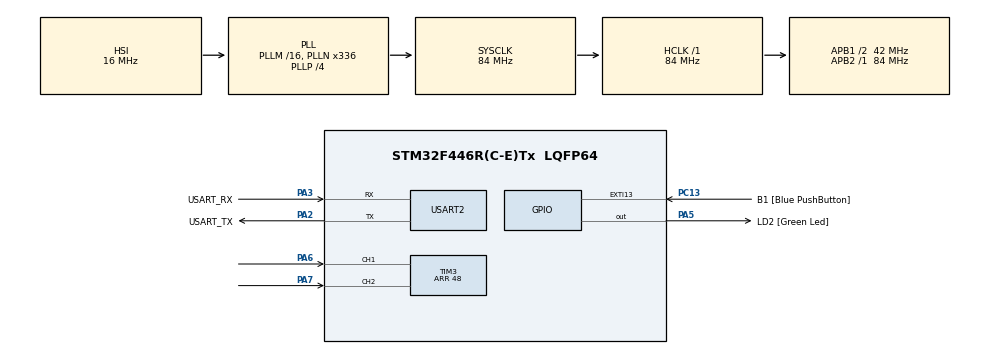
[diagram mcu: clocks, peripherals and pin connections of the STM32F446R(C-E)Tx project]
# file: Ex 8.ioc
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Mcu.Family=STM32F4
Mcu.Name=STM32F446R(C-E)Tx
Mcu.Package=LQFP64
NVIC.PriorityGroup=NVIC_PRIORITYGROUP_0
NVIC.TIM3_IRQn=true\:0\:0\:false\:false\:true\:true\:true\:true
NVIC.TIM6_DAC_IRQn=true\:0\:0\:false\:false\:true\:true\:true\:true
PA13.GPIO_Label=TMS
PA13.Mode=Serial_Wire
PA13.Signal=SYS_JTMS-SWDIO
PA14.GPIO_Label=TCK
PA14.Mode=Serial_Wire
PA14.Signal=SYS_JTCK-SWCLK
PA2.GPIO_Label=USART_TX
PA2.Mode=Asynchronous
PA2.Signal=USART2_TX
PA3.GPIO_Label=USART_RX
PA3.Mode=Asynchronous
PA3.Signal=USART2_RX
PA5.GPIO_Label=LD2 [Green Led]
PA5.Signal=GPIO_Output
PA6.Signal=S_TIM3_CH1
PA7.Signal=S_TIM3_CH2
PB3.GPIO_Label=SWO
PB3.Signal=SYS_JTDO-SWO
PC13.GPIO_Label=B1 [Blue PushButton]
PC13.GPIO_ModeDefaultEXTI=GPIO_MODE_IT_FALLING
PC13.Signal=GPXTI13
PC14-OSC32_IN.Mode=LSE-External-Oscillator
PC14-OSC32_IN.Signal=RCC_OSC32_IN
PC15-OSC32_OUT.Mode=LSE-External-Oscillator
PC15-OSC32_OUT.Signal=RCC_OSC32_OUT
PH0-OSC_IN.Mode=HSE-External-Oscillator
PH0-OSC_IN.Signal=RCC_OSC_IN
PH1-OSC_OUT.Mode=HSE-External-Oscillator
PH1-OSC_OUT.Signal=RCC_OSC_OUT
ProjectManager.HeapSize=0x200
ProjectManager.StackSize=0x400
ProjectManager.TargetToolchain=STM32CubeIDE
RCC.48MHZClocksFreq_Value=84000000
RCC.AHBFreq_Value=84000000
RCC.APB1CLKDivider=RCC_HCLK_DIV2
RCC.APB1Freq_Value=42000000
RCC.APB1TimFreq_Value=84000000
RCC.APB2Freq_Value=84000000
RCC.APB2TimFreq_Value=84000000
RCC.CortexFreq_Value=84000000
RCC.FLatency-AdvancedSettings=FLASH_LATENCY_2
RCC.HCLKFreq_Value=84000000
RCC.HSE_VALUE=8000000
RCC.HSI_VALUE=16000000
RCC.PLLN=336
RCC.PLLP=RCC_PLLP_DIV4
RCC.SYSCLKFreq_VALUE=84000000
RCC.SYSCLKSource=RCC_SYSCLKSOURCE_PLLCLK
RCC.USBFreq_Value=168000000
RCC.VCOOutputFreq_Value=336000000
SH.S_TIM3_CH1.0=TIM3_CH1,Encoder_Interface
SH.S_TIM3_CH2.0=TIM3_CH2,Encoder_Interface
TIM3.EncoderMode=TIM_ENCODERMODE_TI12
TIM3.IC1Filter=0xf
TIM3.IC2Filter=0xf
TIM3.Period=48
TIM6.Period=20000-1
TIM6.Prescaler=84-1
USART2.VirtualMode=VM_ASYNC
VP_TIM6_VS_ClockSourceINT.Mode=Enable_Timer
board=NUCLEO-F446RE

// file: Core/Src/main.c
/* USER CODE BEGIN Header */
/**
  ******************************************************************************
  * @file           : main.c
  * @brief          : Main program body
  ******************************************************************************
  * @attention
  *
  * Copyright (c) 2026 STMicroelectronics.
  * All rights reserved.
  *
  * This software is licensed under terms that can be found in the LICENSE file
  * in the root directory of this software component.
  * If no LICENSE file comes with this software, it is provided AS-IS.
  *
  ******************************************************************************
  */
/* USER CODE END Header */
#include "main.h"

TIM_HandleTypeDef htim3;
TIM_HandleTypeDef htim6;

UART_HandleTypeDef huart2;

/* USER CODE BEGIN PV */
int32_t position;
int32_t rollover_counter;
int32_t velocity;
/* USER CODE END PV */

void SystemClock_Config(void);
static void MX_GPIO_Init(void);
static void MX_USART2_UART_Init(void);
static void MX_TIM3_Init(void);
static void MX_TIM6_Init(void);

int main(void)
{

  /* MCU Configuration--------------------------------------------------------*/

  /* Reset of all peripherals, Initializes the Flash interface and the Systick. */
  HAL_Init();

  /* Configure the system clock */
  SystemClock_Config();

  /* Initialize all configured peripherals */
  MX_GPIO_Init();
  MX_USART2_UART_Init();
  MX_TIM3_Init();
  MX_TIM6_Init();
  /* USER CODE BEGIN 2 */
  HAL_TIM_Base_Start_IT(&htim6);					// start timer6 to generate interrupt
  HAL_TIM_Encoder_Start(&htim3, TIM_CHANNEL_ALL);	// start the quadrature encoder (timer3)
  /* USER CODE END 2 */

  /* Infinite loop */
  while (1)
  {

  }
}

void SystemClock_Config(void)
{
  RCC_OscInitTypeDef RCC_OscInitStruct = {0};
  RCC_ClkInitTypeDef RCC_ClkInitStruct = {0};

  /** Configure the main internal regulator output voltage
  */
  __HAL_RCC_PWR_CLK_ENABLE();
  __HAL_PWR_VOLTAGESCALING_CONFIG(PWR_REGULATOR_VOLTAGE_SCALE3);

  /** Initializes the RCC Oscillators according to the specified parameters
  * in the RCC_OscInitTypeDef structure.
  */
  RCC_OscInitStruct.OscillatorType = RCC_OSCILLATORTYPE_HSI;
  RCC_OscInitStruct.HSIState = RCC_HSI_ON;
  RCC_OscInitStruct.HSICalibrationValue = RCC_HSICALIBRATION_DEFAULT;
  RCC_OscInitStruct.PLL.PLLState = RCC_PLL_ON;
  RCC_OscInitStruct.PLL.PLLSource = RCC_PLLSOURCE_HSI;
  RCC_OscInitStruct.PLL.PLLM = 16;
  RCC_OscInitStruct.PLL.PLLN = 336;
  RCC_OscInitStruct.PLL.PLLP = RCC_PLLP_DIV4;
  RCC_OscInitStruct.PLL.PLLQ = 2;
  RCC_OscInitStruct.PLL.PLLR = 2;
  if (HAL_RCC_OscConfig(&RCC_OscInitStruct) != HAL_OK)
  {
    Error_Handler();
  }

  /** Initializes the CPU, AHB and APB buses clocks
  */
  RCC_ClkInitStruct.ClockType = RCC_CLOCKTYPE_HCLK|RCC_CLOCKTYPE_SYSCLK
                              |RCC_CLOCKTYPE_PCLK1|RCC_CLOCKTYPE_PCLK2;
  RCC_ClkInitStruct.SYSCLKSource = RCC_SYSCLKSOURCE_PLLCLK;
  RCC_ClkInitStruct.AHBCLKDivider = RCC_SYSCLK_DIV1;
  RCC_ClkInitStruct.APB1CLKDivider = RCC_HCLK_DIV2;
  RCC_ClkInitStruct.APB2CLKDivider = RCC_HCLK_DIV1;

  if (HAL_RCC_ClockConfig(&RCC_ClkInitStruct, FLASH_LATENCY_2) != HAL_OK)
  {
    Error_Handler();
  }
}

static void MX_TIM3_Init(void)
{

  TIM_Encoder_InitTypeDef sConfig = {0};
  TIM_MasterConfigTypeDef sMasterConfig = {0};

  htim3.Instance = TIM3;
  htim3.Init.Prescaler = 0;
  htim3.Init.CounterMode = TIM_COUNTERMODE_UP;
  htim3.Init.Period = 48;
  htim3.Init.ClockDivision = TIM_CLOCKDIVISION_DIV1;
  htim3.Init.AutoReloadPreload = TIM_AUTORELOAD_PRELOAD_DISABLE;
  sConfig.EncoderMode = TIM_ENCODERMODE_TI12;
  sConfig.IC1Polarity = TIM_ICPOLARITY_RISING;
  sConfig.IC1Selection = TIM_ICSELECTION_DIRECTTI;
  sConfig.IC1Prescaler = TIM_ICPSC_DIV1;
  sConfig.IC1Filter = 0xf;
  sConfig.IC2Polarity = TIM_ICPOLARITY_RISING;
  sConfig.IC2Selection = TIM_ICSELECTION_DIRECTTI;
  sConfig.IC2Prescaler = TIM_ICPSC_DIV1;
  sConfig.IC2Filter = 0xf;
  if (HAL_TIM_Encoder_Init(&htim3, &sConfig) != HAL_OK)
  {
    Error_Handler();
  }
  sMasterConfig.MasterOutputTrigger = TIM_TRGO_RESET;
  sMasterConfig.MasterSlaveMode = TIM_MASTERSLAVEMODE_DISABLE;
  if (HAL_TIMEx_MasterConfigSynchronization(&htim3, &sMasterConfig) != HAL_OK)
  {
    Error_Handler();
  }
  /* USER CODE BEGIN TIM3_Init 2 */
  __HAL_TIM_CLEAR_FLAG(&htim3, TIM_FLAG_UPDATE);		// clear flag
  __HAL_TIM_ENABLE_IT(&htim3, TIM_IT_UPDATE);		// enable timer update interrupt source
  /* USER CODE END TIM3_Init 2 */

}

static void MX_TIM6_Init(void)
{

  TIM_MasterConfigTypeDef sMasterConfig = {0};

  htim6.Instance = TIM6;
  htim6.Init.Prescaler = 84-1;
  htim6.Init.CounterMode = TIM_COUNTERMODE_UP;
  htim6.Init.Period = 20000-1;
  htim6.Init.AutoReloadPreload = TIM_AUTORELOAD_PRELOAD_DISABLE;
  if (HAL_TIM_Base_Init(&htim6) != HAL_OK)
  {
    Error_Handler();
  }
  sMasterConfig.MasterOutputTrigger = TIM_TRGO_RESET;
  sMasterConfig.MasterSlaveMode = TIM_MASTERSLAVEMODE_DISABLE;
  if (HAL_TIMEx_MasterConfigSynchronization(&htim6, &sMasterConfig) != HAL_OK)
  {
    Error_Handler();
  }

}

static void MX_USART2_UART_Init(void)
{

  huart2.Instance = USART2;
  huart2.Init.BaudRate = 115200;
  huart2.Init.WordLength = UART_WORDLENGTH_8B;
  huart2.Init.StopBits = UART_STOPBITS_1;
  huart2.Init.Parity = UART_PARITY_NONE;
  huart2.Init.Mode = UART_MODE_TX_RX;
  huart2.Init.HwFlowCtl = UART_HWCONTROL_NONE;
  huart2.Init.OverSampling = UART_OVERSAMPLING_16;
  if (HAL_UART_Init(&huart2) != HAL_OK)
  {
    Error_Handler();
  }

}

static void MX_GPIO_Init(void)
{
  GPIO_InitTypeDef GPIO_InitStruct = {0};

  /* GPIO Ports Clock Enable */
  __HAL_RCC_GPIOC_CLK_ENABLE();
  __HAL_RCC_GPIOH_CLK_ENABLE();
  __HAL_RCC_GPIOA_CLK_ENABLE();
  __HAL_RCC_GPIOB_CLK_ENABLE();

  /*Configure GPIO pin Output Level */
  HAL_GPIO_WritePin(LD2_GPIO_Port, LD2_Pin, GPIO_PIN_RESET);

  /*Configure GPIO pin : B1_Pin */
  GPIO_InitStruct.Pin = B1_Pin;
  GPIO_InitStruct.Mode = GPIO_MODE_IT_FALLING;
  GPIO_InitStruct.Pull = GPIO_NOPULL;
  HAL_GPIO_Init(B1_GPIO_Port, &GPIO_InitStruct);

  /*Configure GPIO pin : LD2_Pin */
  GPIO_InitStruct.Pin = LD2_Pin;
  GPIO_InitStruct.Mode = GPIO_MODE_OUTPUT_PP;
  GPIO_InitStruct.Pull = GPIO_NOPULL;
  GPIO_InitStruct.Speed = GPIO_SPEED_FREQ_LOW;
  HAL_GPIO_Init(LD2_GPIO_Port, &GPIO_InitStruct);

}

/* USER CODE BEGIN 4 */
void HAL_TIM_PeriodElapsedCallback(TIM_HandleTypeDef *htim)
{
	if(htim == &htim6)
	{
		// static variable to maintain previous position
		static int32_t prev_pos = 0;

		// position = CNT + (rollover_counter * ARR + 1)
		position = htim3.Instance->CNT +(rollover_counter * (htim3.Instance->ARR + 1));

		// velocity = (change in position) / time period
		velocity = (position - prev_pos) / 0.02;	// 20ms = 0.02s

		// update previous position for next calc
		prev_pos = position;

		//position = htim3.Instance->CNT; // copy CNT into global variable
	}

	if(htim == &htim3)
	{
		// if the CNT value is less than half the ARR then
		// interrupt was caused by an over-flow
		if(htim3.Instance->CNT < (htim3.Instance->ARR /2))
		{
			rollover_counter++;	// increment rollover counter
		}
		// if the CNT value is more than half the ARR then
		// interrupt was caused by and under-flow
		else
		{
			rollover_counter--; // decrement rollover counter
		}
	}
}
/* USER CODE END 4 */

void Error_Handler(void)
{
  __disable_irq();
  while (1)
  {
  }
}
